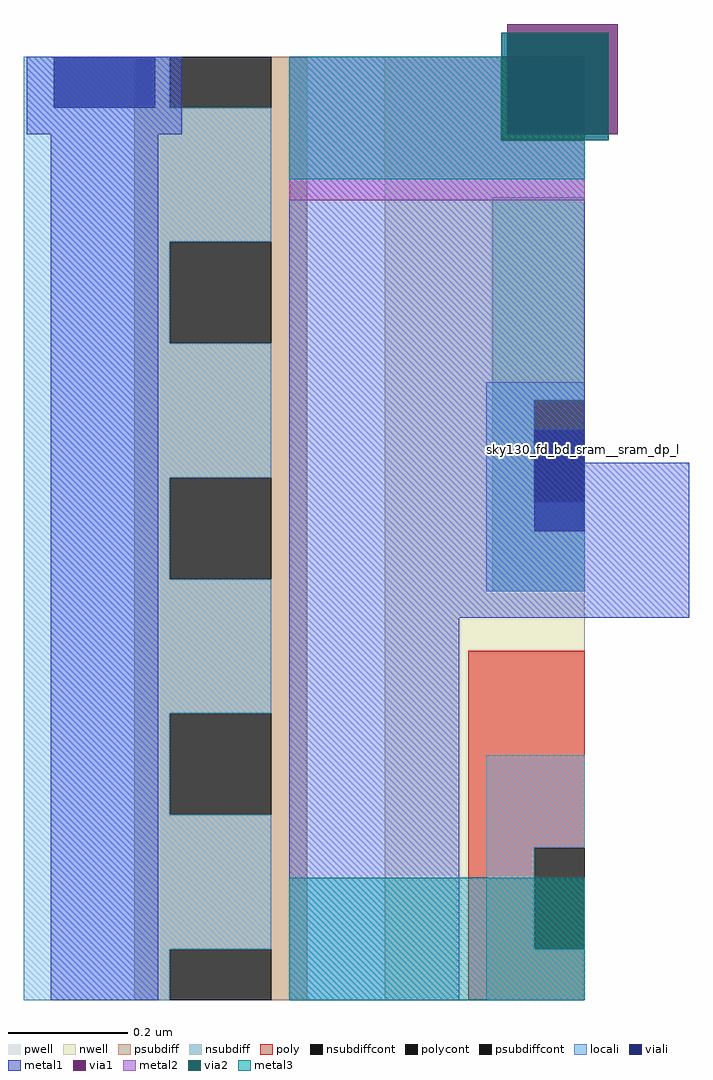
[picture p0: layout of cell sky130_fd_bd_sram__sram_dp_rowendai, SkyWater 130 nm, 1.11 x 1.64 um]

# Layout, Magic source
magic
tech sky130A
magscale 1 2
<< nwell >>
rect 121 0 188 316
<< pwell >>
rect 37 0 95 316
<< psubdiff >>
rect 37 299 49 316
rect 83 299 95 316
rect 37 254 95 299
rect 37 220 49 254
rect 83 220 95 254
rect 37 175 95 220
rect 37 141 49 175
rect 83 141 95 175
rect 37 96 95 141
rect 37 62 49 96
rect 83 62 95 96
rect 37 17 95 62
rect 37 0 49 17
rect 83 0 95 17
<< nsubdiff >>
rect 157 201 188 269
rect 157 167 171 201
rect 157 137 188 167
<< psubdiffcont >>
rect 49 299 83 316
rect 49 220 83 254
rect 49 141 83 175
rect 49 62 83 96
rect 49 0 83 17
<< nsubdiffcont >>
rect 171 167 188 201
<< poly >>
rect 149 51 188 117
rect 149 17 171 51
rect 149 0 188 17
<< polycont >>
rect 171 17 188 51
<< locali >>
rect 0 299 49 316
rect 0 254 83 299
rect 0 220 49 254
rect 0 175 83 220
rect 0 141 49 175
rect 0 96 83 141
rect 155 201 188 207
rect 155 167 171 201
rect 155 137 188 167
rect 0 62 49 96
rect 0 17 83 62
rect 0 0 49 17
rect 155 51 188 82
rect 155 17 171 51
rect 155 0 188 17
<< metal1 >>
rect 89 0 110 316
<< via1 >>
rect 162 290 199 327
<< metal2 >>
rect 89 288 160 316
rect 89 268 188 288
<< via2 >>
rect 160 290 162 324
rect 162 290 196 324
rect 160 288 196 290
<< metal3 >>
rect 89 288 160 316
rect 89 275 188 288
rect 89 0 188 41
use sky130_fd_bd_sram__sram_dp_rowend_strp  sky130_fd_bd_sram__sram_dp_rowend_strp_0
transform 1 0 11 0 -1 316
box -10 0 42 316
use sky130_fd_bd_sram__sram_dp_licon_05  sky130_fd_bd_sram__sram_dp_licon_05_0
transform 0 -1 188 1 0 184
box 0 0 1 1
use sky130_fd_bd_sram__sram_dp_mcon_05  sky130_fd_bd_sram__sram_dp_mcon_05_0
transform 0 -1 188 1 0 174
box -17 0 17 17
use sky130_fd_bd_sram__sram_dp_swldrv_strap1  sky130_fd_bd_sram__sram_dp_swldrv_strap1_0
transform -1 0 188 0 1 0
box -35 0 78 316
<< properties >>
string GDS_FILE sky130_fd_bd_sram__sram_dp_rowendai.gds
string GDS_END 2874
string GDS_START 1094
<< end >>

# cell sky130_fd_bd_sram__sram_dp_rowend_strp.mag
magic
tech sky130A
<< metal1 >>
rect -1 79 17 158
use sky130_fd_bd_sram__sram_dp_rowend_strp_cont  sky130_fd_bd_sram__sram_dp_rowend_strp_cont_0
transform 1 0 0 0 1 0
box -5 0 21 79
<< properties >>
string GDS_FILE sky130_fd_bd_sram__sram_dp_rowend_strp.gds
string GDS_END 720
string GDS_START 584
<< end >>

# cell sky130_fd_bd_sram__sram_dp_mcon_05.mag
magic
tech sky130A
magscale 1 2
<< viali >>
rect -17 0 17 17
<< properties >>
string GDS_FILE sky130_fd_bd_sram__sram_dp_mcon_05.gds
string GDS_END 226
string GDS_START 158
<< end >>

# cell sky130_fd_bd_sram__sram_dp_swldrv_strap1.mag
magic
tech sky130A
magscale 1 2
<< metal1 >>
rect 0 180 78 316
rect -35 128 78 180
rect 42 0 78 128
<< properties >>
string GDS_FILE sky130_fd_bd_sram__sram_dp_swldrv_strap1.gds
string GDS_END 270
string GDS_START 170
<< end >>

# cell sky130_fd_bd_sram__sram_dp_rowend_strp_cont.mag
magic
tech sky130A
magscale 1 2
<< metal1 >>
rect -2 26 34 158
rect -10 0 42 26
use sky130_fd_bd_sram__sram_dp_mcon_05  sky130_fd_bd_sram__sram_dp_mcon_05_0
transform -1 0 16 0 1 0
box -17 0 17 17
<< properties >>
string GDS_FILE sky130_fd_bd_sram__sram_dp_rowend_strp_cont.gds
string GDS_END 520
string GDS_START 312
<< end >>
